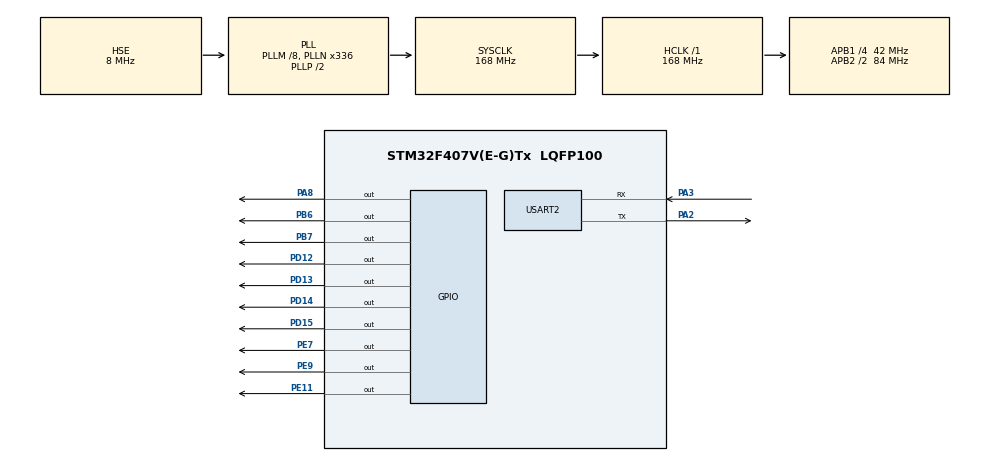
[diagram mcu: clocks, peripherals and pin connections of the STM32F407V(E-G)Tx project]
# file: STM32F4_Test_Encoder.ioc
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Dma.Request0=USART2_TX
Dma.Request1=USART2_RX
Dma.USART2_RX.1.Direction=DMA_PERIPH_TO_MEMORY
Dma.USART2_RX.1.FIFOMode=DMA_FIFOMODE_DISABLE
Dma.USART2_RX.1.Instance=DMA1_Stream5
Dma.USART2_RX.1.MemDataAlignment=DMA_MDATAALIGN_BYTE
Dma.USART2_RX.1.MemInc=DMA_MINC_ENABLE
Dma.USART2_RX.1.Mode=DMA_CIRCULAR
Dma.USART2_RX.1.PeriphDataAlignment=DMA_PDATAALIGN_BYTE
Dma.USART2_RX.1.PeriphInc=DMA_PINC_DISABLE
Dma.USART2_RX.1.Priority=DMA_PRIORITY_LOW
Dma.USART2_TX.0.Direction=DMA_MEMORY_TO_PERIPH
Dma.USART2_TX.0.FIFOMode=DMA_FIFOMODE_DISABLE
Dma.USART2_TX.0.Instance=DMA1_Stream6
Dma.USART2_TX.0.MemDataAlignment=DMA_MDATAALIGN_BYTE
Dma.USART2_TX.0.MemInc=DMA_MINC_ENABLE
Dma.USART2_TX.0.Mode=DMA_NORMAL
Dma.USART2_TX.0.PeriphDataAlignment=DMA_PDATAALIGN_BYTE
Dma.USART2_TX.0.PeriphInc=DMA_PINC_DISABLE
Dma.USART2_TX.0.Priority=DMA_PRIORITY_LOW
Mcu.Family=STM32F4
Mcu.Name=STM32F407V(E-G)Tx
Mcu.Package=LQFP100
NVIC.DMA1_Stream5_IRQn=true\:0\:0\:false\:false\:true\:false
NVIC.DMA1_Stream6_IRQn=true\:0\:0\:false\:false\:true\:false
NVIC.PriorityGroup=NVIC_PRIORITYGROUP_4
NVIC.TIM3_IRQn=true\:0\:0\:false\:false\:true\:true
NVIC.TIM4_IRQn=true\:0\:0\:false\:false\:true\:true
NVIC.USART2_IRQn=true\:0\:0\:false\:false\:true\:true
PA2.Mode=Asynchronous
PA2.Signal=USART2_TX
PA3.Mode=Asynchronous
PA3.Signal=USART2_RX
PA8.Signal=GPIO_Output
PB6.Signal=GPIO_Output
PB7.Signal=GPIO_Output
PD12.GPIO_Speed=GPIO_SPEED_FREQ_VERY_HIGH
PD12.Signal=GPIO_Output
PD13.GPIO_Speed=GPIO_SPEED_FREQ_VERY_HIGH
PD13.Signal=GPIO_Output
PD14.GPIO_Speed=GPIO_SPEED_FREQ_VERY_HIGH
PD14.Signal=GPIO_Output
PD15.GPIO_Speed=GPIO_SPEED_FREQ_VERY_HIGH
PD15.Signal=GPIO_Output
PE11.Signal=GPIO_Output
PE7.GPIO_Speed=GPIO_SPEED_FREQ_VERY_HIGH
PE7.PinState=GPIO_PIN_RESET
PE7.Signal=GPIO_Output
PE9.GPIO_Speed=GPIO_SPEED_FREQ_VERY_HIGH
PE9.PinState=GPIO_PIN_RESET
PE9.Signal=GPIO_Output
PH0-OSC_IN.Mode=HSE-External-Oscillator
PH0-OSC_IN.Signal=RCC_OSC_IN
PH1-OSC_OUT.Mode=HSE-External-Oscillator
PH1-OSC_OUT.Signal=RCC_OSC_OUT
ProjectManager.HeapSize=0x200
ProjectManager.StackSize=0x400
ProjectManager.TargetToolchain=MDK-ARM V5
RCC.48MHZClocksFreq_Value=84000000
RCC.AHBFreq_Value=168000000
RCC.APB1CLKDivider=RCC_HCLK_DIV4
RCC.APB1Freq_Value=42000000
RCC.APB1TimFreq_Value=84000000
RCC.APB2CLKDivider=RCC_HCLK_DIV2
RCC.APB2Freq_Value=84000000
RCC.APB2TimFreq_Value=168000000
RCC.CortexFreq_Value=168000000
RCC.HCLKFreq_Value=168000000
RCC.HSE_VALUE=8000000
RCC.HSI_VALUE=16000000
RCC.LSE_VALUE=32768
RCC.PLLM=8
RCC.PLLN=336
RCC.PLLSourceVirtual=RCC_PLLSOURCE_HSE
RCC.SYSCLKFreq_VALUE=168000000
RCC.SYSCLKSource=RCC_SYSCLKSOURCE_PLLCLK
RCC.VCOOutputFreq_Value=336000000
TIM3.Period=39
TIM3.Prescaler=42000
TIM4.Period=99
TIM4.Prescaler=42
USART2.VirtualMode=VM_ASYNC
VP_TIM3_VS_ClockSourceINT.Mode=Internal
VP_TIM4_VS_ClockSourceINT.Mode=Internal
board=STM32F4_Test_Encoder

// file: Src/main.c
/**
  ******************************************************************************
  * @file           : main.c
  * @brief          : Main program body
  ******************************************************************************
  ** This notice applies to any and all portions of this file
  * that are not between comment pairs USER CODE BEGIN and
  * USER CODE END. Other portions of this file, whether
  * inserted by the user or by software development tools
  * are owned by their respective copyright owners.
  *
  * COPYRIGHT(c) 2018 STMicroelectronics
  *
  * Redistribution and use in source and binary forms, with or without modification,
  * are permitted provided that the following conditions are met:
  *   1. Redistributions of source code must retain the above copyright notice,
  *      this list of conditions and the following disclaimer.
  *   2. Redistributions in binary form must reproduce the above copyright notice,
  *      this list of conditions and the following disclaimer in the documentation
  *      and/or other materials provided with the distribution.
  *   3. Neither the name of STMicroelectronics nor the names of its contributors
  *      may be used to endorse or promote products derived from this software
  *      without specific prior written permission.
  *
  * THIS SOFTWARE IS PROVIDED BY THE COPYRIGHT HOLDERS AND CONTRIBUTORS "AS IS"
  * AND ANY EXPRESS OR IMPLIED WARRANTIES, INCLUDING, BUT NOT LIMITED TO, THE
  * IMPLIED WARRANTIES OF MERCHANTABILITY AND FITNESS FOR A PARTICULAR PURPOSE ARE
  * DISCLAIMED. IN NO EVENT SHALL THE COPYRIGHT HOLDER OR CONTRIBUTORS BE LIABLE
  * FOR ANY DIRECT, INDIRECT, INCIDENTAL, SPECIAL, EXEMPLARY, OR CONSEQUENTIAL
  * DAMAGES (INCLUDING, BUT NOT LIMITED TO, PROCUREMENT OF SUBSTITUTE GOODS OR
  * SERVICES; LOSS OF USE, DATA, OR PROFITS; OR BUSINESS INTERRUPTION) HOWEVER
  * CAUSED AND ON ANY THEORY OF LIABILITY, WHETHER IN CONTRACT, STRICT LIABILITY,
  * OR TORT (INCLUDING NEGLIGENCE OR OTHERWISE) ARISING IN ANY WAY OUT OF THE USE
  * OF THIS SOFTWARE, EVEN IF ADVISED OF THE POSSIBILITY OF SUCH DAMAGE.
  *
  ******************************************************************************
  */
#include "main.h"
#include "stm32f4xx_hal.h"

/* USER CODE BEGIN Includes */
#include <stdlib.h>
#include <string.h>
#include "PID.h"
#include "encoder.h"
/* USER CODE END Includes */

TIM_HandleTypeDef htim3;
TIM_HandleTypeDef htim4;

UART_HandleTypeDef huart2;
DMA_HandleTypeDef hdma_usart2_tx;
DMA_HandleTypeDef hdma_usart2_rx;

/* USER CODE BEGIN PV */
/* Private variables ---------------------------------------------------------*/
#define MAX_BUF_DATA_RECV   20

uint8_t ui8_BufLog[50];
uint8_t u8_rec_data;
uint8_t UART_Buf[MAX_BUF_DATA_RECV];
uint16_t UART_ReadIdx = 0;
uint16_t UART_WriteIdx = 0;
uint16_t u16_avail_byte = 0;
int32_t i32_countZeroCmd = 0;

int16_t i16_CountPulseLeft, i16_CountPulseRight;

uint16_t count_reset = 0;
uint8_t count_send = 0;

PID_PARAMETERS PID_ParaMotor_Left = {.Kp = 0.020, .Kd = 0.0, .Ki = 0.005,
             .Ts = 0.020, .PID_Saturation = 450, .e_=0, .e__=0, .u_=0};
PID_PARAMETERS PID_ParaMotor_Right = {.Kp = 0.020, .Kd = 0.0, .Ki = 0.005,
             .Ts = 0.020, .PID_Saturation = 450, .e_=0, .e__=0, .u_=0};

LPF_PARAMETERS LPF_EncoderLeft = {.counter = 0, .result = 0, .alpha = 0.8};
LPF_PARAMETERS LPF_EncoderRight = {.counter = 0, .result = 0, .alpha = 0.8};

TARGET_VELOCITY_PARAMETERS Target_Velocity = {.angle_velocity = 0, .linear_velocity = 0,
                                              .i16_Pulse_Left = 0, .i16_Pulse_Right = 0,
                                              .radius = 0.035, .length = (0.3*1), .ratio = 1};
TARGET_VELOCITY_PARAMETERS Execute_Velocity = {.angle_velocity = 0, .linear_velocity = 0,
                                              .i16_Pulse_Left = 0, .i16_Pulse_Right = 0,
                                              .radius = 0.035, .length = (0.3*1), .ratio = 1};
/* USER CODE END PV */

void SystemClock_Config(void);
static void MX_GPIO_Init(void);
static void MX_DMA_Init(void);
static void MX_USART2_UART_Init(void);
static void MX_TIM4_Init(void);
static void MX_TIM3_Init(void);

/* USER CODE BEGIN PFP */
/* Private function prototypes -----------------------------------------------*/
int8_t UART_GetCmd(void);
/* USER CODE END PFP */

/* USER CODE BEGIN 0 */
void UART_Log(uint8_t* log)
{
  HAL_UART_Transmit_DMA(&huart2, log, strlen((const char *)log));
}

int16_t LPF_Encoder(LPF_PARAMETERS* LPF_params, int16_t counter)
{
  LPF_params->counter = counter;
  LPF_params->result = LPF_params->result + LPF_params->alpha * (LPF_params->counter - LPF_params->result);
  return LPF_params->result;
}

void HAL_TIM_PeriodElapsedCallback(TIM_HandleTypeDef *htim)
{
  if(htim->Instance == htim3.Instance)
  {
    if(UART_GetCmd() == 0)
    {
      i32_countZeroCmd++;
    }
    else
    {
      i32_countZeroCmd = 0;
      HAL_GPIO_WritePin(GPIOE, GPIO_PIN_11, GPIO_PIN_RESET);
      HAL_GPIO_WritePin(GPIOA, GPIO_PIN_8, GPIO_PIN_RESET);
    }

    if(i32_countZeroCmd > 50)
    {
      i32_countZeroCmd = 50;
      Target_Velocity.linear_velocity = 0;
      Target_Velocity.angle_velocity = 0;
//      Step_CalVelocity(&Target_Velocity);
      if((Execute_Velocity.linear_velocity == 0) && (Execute_Velocity.angle_velocity == 0))
      {
        HAL_GPIO_WritePin(GPIOE, GPIO_PIN_11, GPIO_PIN_SET);
        HAL_GPIO_WritePin(GPIOA, GPIO_PIN_8, GPIO_PIN_SET);
      }
    }

    if(Execute_Velocity.linear_velocity + INC_VEL < Target_Velocity.linear_velocity)
    {
      Execute_Velocity.linear_velocity += INC_VEL;
    }
    else if(Execute_Velocity.linear_velocity - INC_VEL > Target_Velocity.linear_velocity)
    {
      Execute_Velocity.linear_velocity -= INC_VEL;
    }
    else
    {
      Execute_Velocity.linear_velocity = Target_Velocity.linear_velocity;
    }

    if(Execute_Velocity.angle_velocity + INC_ANG < Target_Velocity.angle_velocity)
    {
      Execute_Velocity.angle_velocity += INC_ANG;
    }
    else if(Execute_Velocity.angle_velocity - INC_ANG > Target_Velocity.angle_velocity)
    {
      Execute_Velocity.angle_velocity -= INC_ANG;
    }
    else
    {
      Execute_Velocity.angle_velocity = Target_Velocity.angle_velocity;
    }

    Step_CalVelocity(&Execute_Velocity);

    if(count_send > 10)
    {
      count_send = 0;
      HAL_GPIO_TogglePin(GPIOD, GPIO_PIN_13);

  //    sprintf((char*) ui8_BufLog,"%f \t %f \t %f \t %f\n\r",Target_Velocity.linear_velocity*1000,Result_Velocity.linear_velocity*1000,
  //                                                          Target_Velocity.angle_velocity*1000, Result_Velocity.angle_velocity*1000);
//      sprintf((char*) ui8_BufLog,"%d \t %d \t %d \t %d\n\r",(int16_t)(Target_Velocity.linear_velocity*1000),
//                                                            (int16_t)(Result_Velocity.linear_velocity*1000),
//                                                            (int16_t)(Target_Velocity.angle_velocity*1000),
//                                                            (int16_t)(Result_Velocity.angle_velocity*1000));

//      sprintf((char*) ui8_BufLog,"%d \t %d\n\r", Target_Velocity.i16_Pulse_Right, i16_Counter_Right_LPF);
//      sprintf((char*) ui8_BufLog,"%d \t %d \t %d \t %d\n\r", i16_Error_Left, (int16_t)i16_PIDScale_Left, (int16_t)i16_Error_Right, (int16_t)i16_PIDScale_Right);
//      sprintf((char*) ui8_BufLog,"%d \t %d \t %d \t %d\n\r",i16_Counter_Left, i16_Counter_Left_LPF, i16_Counter_Right, i16_Counter_Right_LPF);
      UART_Log(ui8_BufLog);
    }
    else
    {
      count_send++;
    }
  }
  else if (htim->Instance == htim4.Instance)
  {
    if (count_reset >= 1000)
    {
      if(Execute_Velocity.i16_Pulse_Left > 0)
      {
        HAL_GPIO_WritePin(GPIOE, GPIO_PIN_7, STEP_FORWARD_LEFT);
        if(i16_CountPulseLeft > Execute_Velocity.i16_Pulse_Left)
        {
          i16_CountPulseLeft = 0;
          HAL_GPIO_TogglePin(GPIOB, GPIO_PIN_6);
        }
        else
        {
          i16_CountPulseLeft++;
        }
      }
      else if(Execute_Velocity.i16_Pulse_Left < 0)
      {
        HAL_GPIO_WritePin(GPIOE, GPIO_PIN_7, STEP_BACK_LEFT);
        if(i16_CountPulseLeft > -Execute_Velocity.i16_Pulse_Left)
        {
          i16_CountPulseLeft = 0;
          HAL_GPIO_TogglePin(GPIOB, GPIO_PIN_6);
        }
        else
        {
          i16_CountPulseLeft++;
        }
      }
      else
      {
        HAL_GPIO_WritePin(GPIOB, GPIO_PIN_6, 0);
      }

      if(Execute_Velocity.i16_Pulse_Right > 0)
      {
        HAL_GPIO_WritePin(GPIOE, GPIO_PIN_9, STEP_FORWARD_RIGHT);
        if(i16_CountPulseRight > Execute_Velocity.i16_Pulse_Right)
        {
          i16_CountPulseRight = 0;
          HAL_GPIO_TogglePin(GPIOB, GPIO_PIN_7);
        }
        else
        {
          i16_CountPulseRight++;
        }
      }
      else if(Execute_Velocity.i16_Pulse_Right < 0)
      {
        HAL_GPIO_WritePin(GPIOE, GPIO_PIN_9, STEP_BACK_RIGHT);
        if(i16_CountPulseRight > -Execute_Velocity.i16_Pulse_Right)
        {
          i16_CountPulseRight = 0;
          HAL_GPIO_TogglePin(GPIOB, GPIO_PIN_7);
        }
        else
        {
          i16_CountPulseRight++;
        }
      }
      else
      {
        HAL_GPIO_WritePin(GPIOB, GPIO_PIN_7, GPIO_PIN_RESET);
      }
    }
    else
    {
        count_reset++;
    }
  }
}

uint16_t UART_QueryData(void){
  return (u16_avail_byte);
}

void HAL_UART_RxCpltCallback(UART_HandleTypeDef *huart)
{
	if(huart->Instance==huart2.Instance)
	{
    if(((UART_WriteIdx == (MAX_BUF_DATA_RECV -1))&&(UART_ReadIdx != 0))||
       ((UART_WriteIdx != (MAX_BUF_DATA_RECV -1))&&((UART_WriteIdx+1) != UART_ReadIdx)))
    {
        UART_Buf[UART_WriteIdx++] = u8_rec_data;
        u16_avail_byte++;
        UART_WriteIdx %= MAX_BUF_DATA_RECV;
    }
  }
}

void UART_C1101_Read(uint8_t * buf, uint16_t len)
{
    uint16_t idx;
    if(UART_QueryData() >= len){
        for(idx = 0; idx < len; idx++){
            if (UART_ReadIdx != UART_WriteIdx)
            {
              *(buf + idx) = UART_Buf[UART_ReadIdx++];
              if (u16_avail_byte)
              {
                u16_avail_byte--;
              }
            }
            if(UART_ReadIdx >= MAX_BUF_DATA_RECV){
                UART_ReadIdx = 0;
            }
        }
    }
}

int8_t UART_GetCmd(void)
{
  static int8_t Buf_temp[20];
  static int8_t i8_InProcessing = 0;
  static int8_t i8_Idx = 0;
  static uint8_t u8_Temp;
  char* cToken;
  while(UART_QueryData() > 0)
  {
    UART_C1101_Read(&u8_Temp, 1);
    if(u8_Temp == ']')
    {
      i8_InProcessing = 0;
      //
      cToken = strtok((char*)Buf_temp, ",");
      if(cToken != NULL)
      {
          Target_Velocity.linear_velocity = atof(cToken);
          cToken = strtok(NULL,",");
          if(cToken != NULL)
          {
              Target_Velocity.angle_velocity = atof(cToken);
          }
      }
      if(Target_Velocity.linear_velocity > 0.5)
      {
        Target_Velocity.linear_velocity = 0.5;
      }
      if(Target_Velocity.angle_velocity > 3)
      {
        Target_Velocity.angle_velocity = 3;
      }
      else if(Target_Velocity.angle_velocity < -3)
      {
        Target_Velocity.angle_velocity = -3;
      }
//      Step_CalVelocity(&Target_Velocity);
      HAL_GPIO_TogglePin(GPIOD, GPIO_PIN_15);
      return 1;
    }
//    HAL_GPIO_TogglePin(GPIOD, GPIO_PIN_13);
    if(i8_InProcessing)
    {
      Buf_temp[i8_Idx++] = u8_Temp;
    }
    if(u8_Temp == '[')
    {
      i8_Idx = 0;
      i8_InProcessing = 1;
    }
  }
  return 0;
}
/* USER CODE END 0 */

int main(void)
{

  /* MCU Configuration----------------------------------------------------------*/

  /* Reset of all peripherals, Initializes the Flash interface and the Systick. */
  HAL_Init();

  /* USER CODE BEGIN Init */
  pid_reset(&PID_ParaMotor_Left);
  pid_reset(&PID_ParaMotor_Right);
  /* USER CODE END Init */

  /* Configure the system clock */
  SystemClock_Config();

  /* Initialize all configured peripherals */
  MX_GPIO_Init();
  MX_DMA_Init();
  MX_USART2_UART_Init();
  MX_TIM4_Init();
  MX_TIM3_Init();
  /* USER CODE BEGIN 2 */
  HAL_TIM_Base_Start_IT(&htim3);
  HAL_TIM_Base_Start_IT(&htim4);

  HAL_UART_Receive_DMA(&huart2, &u8_rec_data,1);
  /* USER CODE END 2 */

  /* Infinite loop */
  while (1)
  {

  }

}

void SystemClock_Config(void)
{

  RCC_OscInitTypeDef RCC_OscInitStruct;
  RCC_ClkInitTypeDef RCC_ClkInitStruct;

    /**Configure the main internal regulator output voltage
    */
  __HAL_RCC_PWR_CLK_ENABLE();

  __HAL_PWR_VOLTAGESCALING_CONFIG(PWR_REGULATOR_VOLTAGE_SCALE1);

    /**Initializes the CPU, AHB and APB busses clocks
    */
  RCC_OscInitStruct.OscillatorType = RCC_OSCILLATORTYPE_HSE;
  RCC_OscInitStruct.HSEState = RCC_HSE_ON;
  RCC_OscInitStruct.PLL.PLLState = RCC_PLL_ON;
  RCC_OscInitStruct.PLL.PLLSource = RCC_PLLSOURCE_HSE;
  RCC_OscInitStruct.PLL.PLLM = 8;
  RCC_OscInitStruct.PLL.PLLN = 336;
  RCC_OscInitStruct.PLL.PLLP = RCC_PLLP_DIV2;
  RCC_OscInitStruct.PLL.PLLQ = 4;
  if (HAL_RCC_OscConfig(&RCC_OscInitStruct) != HAL_OK)
  {
    _Error_Handler(__FILE__, __LINE__);
  }

    /**Initializes the CPU, AHB and APB busses clocks
    */
  RCC_ClkInitStruct.ClockType = RCC_CLOCKTYPE_HCLK|RCC_CLOCKTYPE_SYSCLK
                              |RCC_CLOCKTYPE_PCLK1|RCC_CLOCKTYPE_PCLK2;
  RCC_ClkInitStruct.SYSCLKSource = RCC_SYSCLKSOURCE_PLLCLK;
  RCC_ClkInitStruct.AHBCLKDivider = RCC_SYSCLK_DIV1;
  RCC_ClkInitStruct.APB1CLKDivider = RCC_HCLK_DIV4;
  RCC_ClkInitStruct.APB2CLKDivider = RCC_HCLK_DIV2;

  if (HAL_RCC_ClockConfig(&RCC_ClkInitStruct, FLASH_LATENCY_5) != HAL_OK)
  {
    _Error_Handler(__FILE__, __LINE__);
  }

    /**Configure the Systick interrupt time
    */
  HAL_SYSTICK_Config(HAL_RCC_GetHCLKFreq()/1000);

    /**Configure the Systick
    */
  HAL_SYSTICK_CLKSourceConfig(SYSTICK_CLKSOURCE_HCLK);

  /* SysTick_IRQn interrupt configuration */
  HAL_NVIC_SetPriority(SysTick_IRQn, 0, 0);
}

/* TIM3 init function */
static void MX_TIM3_Init(void)
{

  TIM_ClockConfigTypeDef sClockSourceConfig;
  TIM_MasterConfigTypeDef sMasterConfig;

  htim3.Instance = TIM3;
  htim3.Init.Prescaler = 42000;
  htim3.Init.CounterMode = TIM_COUNTERMODE_UP;
  htim3.Init.Period = 39;
  htim3.Init.ClockDivision = TIM_CLOCKDIVISION_DIV1;
  if (HAL_TIM_Base_Init(&htim3) != HAL_OK)
  {
    _Error_Handler(__FILE__, __LINE__);
  }

  sClockSourceConfig.ClockSource = TIM_CLOCKSOURCE_INTERNAL;
  if (HAL_TIM_ConfigClockSource(&htim3, &sClockSourceConfig) != HAL_OK)
  {
    _Error_Handler(__FILE__, __LINE__);
  }

  sMasterConfig.MasterOutputTrigger = TIM_TRGO_RESET;
  sMasterConfig.MasterSlaveMode = TIM_MASTERSLAVEMODE_DISABLE;
  if (HAL_TIMEx_MasterConfigSynchronization(&htim3, &sMasterConfig) != HAL_OK)
  {
    _Error_Handler(__FILE__, __LINE__);
  }

}

/* TIM4 init function */
static void MX_TIM4_Init(void)
{

  TIM_ClockConfigTypeDef sClockSourceConfig;
  TIM_MasterConfigTypeDef sMasterConfig;

  htim4.Instance = TIM4;
  htim4.Init.Prescaler = 42;
  htim4.Init.CounterMode = TIM_COUNTERMODE_UP;
  htim4.Init.Period = 99;
  htim4.Init.ClockDivision = TIM_CLOCKDIVISION_DIV1;
  if (HAL_TIM_Base_Init(&htim4) != HAL_OK)
  {
    _Error_Handler(__FILE__, __LINE__);
  }

  sClockSourceConfig.ClockSource = TIM_CLOCKSOURCE_INTERNAL;
  if (HAL_TIM_ConfigClockSource(&htim4, &sClockSourceConfig) != HAL_OK)
  {
    _Error_Handler(__FILE__, __LINE__);
  }

  sMasterConfig.MasterOutputTrigger = TIM_TRGO_RESET;
  sMasterConfig.MasterSlaveMode = TIM_MASTERSLAVEMODE_DISABLE;
  if (HAL_TIMEx_MasterConfigSynchronization(&htim4, &sMasterConfig) != HAL_OK)
  {
    _Error_Handler(__FILE__, __LINE__);
  }

}

/* USART2 init function */
static void MX_USART2_UART_Init(void)
{

  huart2.Instance = USART2;
  huart2.Init.BaudRate = 115200;
  huart2.Init.WordLength = UART_WORDLENGTH_8B;
  huart2.Init.StopBits = UART_STOPBITS_1;
  huart2.Init.Parity = UART_PARITY_NONE;
  huart2.Init.Mode = UART_MODE_TX_RX;
  huart2.Init.HwFlowCtl = UART_HWCONTROL_NONE;
  huart2.Init.OverSampling = UART_OVERSAMPLING_16;
  if (HAL_UART_Init(&huart2) != HAL_OK)
  {
    _Error_Handler(__FILE__, __LINE__);
  }

}

static void MX_DMA_Init(void)
{
  /* DMA controller clock enable */
  __HAL_RCC_DMA1_CLK_ENABLE();

  /* DMA interrupt init */
  /* DMA1_Stream5_IRQn interrupt configuration */
  HAL_NVIC_SetPriority(DMA1_Stream5_IRQn, 0, 0);
  HAL_NVIC_EnableIRQ(DMA1_Stream5_IRQn);
  /* DMA1_Stream6_IRQn interrupt configuration */
  HAL_NVIC_SetPriority(DMA1_Stream6_IRQn, 0, 0);
  HAL_NVIC_EnableIRQ(DMA1_Stream6_IRQn);

}

/** Configure pins as
        * Analog
        * Input
        * Output
        * EVENT_OUT
        * EXTI
*/
static void MX_GPIO_Init(void)
{

  GPIO_InitTypeDef GPIO_InitStruct;

  /* GPIO Ports Clock Enable */
  __HAL_RCC_GPIOH_CLK_ENABLE();
  __HAL_RCC_GPIOA_CLK_ENABLE();
  __HAL_RCC_GPIOE_CLK_ENABLE();
  __HAL_RCC_GPIOD_CLK_ENABLE();
  __HAL_RCC_GPIOB_CLK_ENABLE();

  /*Configure GPIO pin Output Level */
  HAL_GPIO_WritePin(GPIOE, GPIO_PIN_7|GPIO_PIN_9|GPIO_PIN_11, GPIO_PIN_RESET);

  /*Configure GPIO pin Output Level */
  HAL_GPIO_WritePin(GPIOD, GPIO_PIN_12|GPIO_PIN_13|GPIO_PIN_14|GPIO_PIN_15, GPIO_PIN_RESET);

  /*Configure GPIO pin Output Level */
  HAL_GPIO_WritePin(GPIOA, GPIO_PIN_8, GPIO_PIN_RESET);

  /*Configure GPIO pin Output Level */
  HAL_GPIO_WritePin(GPIOB, GPIO_PIN_6|GPIO_PIN_7, GPIO_PIN_RESET);

  /*Configure GPIO pins : PE7 PE9 */
  GPIO_InitStruct.Pin = GPIO_PIN_7|GPIO_PIN_9;
  GPIO_InitStruct.Mode = GPIO_MODE_OUTPUT_PP;
  GPIO_InitStruct.Pull = GPIO_NOPULL;
  GPIO_InitStruct.Speed = GPIO_SPEED_FREQ_VERY_HIGH;
  HAL_GPIO_Init(GPIOE, &GPIO_InitStruct);

  /*Configure GPIO pin : PE11 */
  GPIO_InitStruct.Pin = GPIO_PIN_11;
  GPIO_InitStruct.Mode = GPIO_MODE_OUTPUT_PP;
  GPIO_InitStruct.Pull = GPIO_NOPULL;
  GPIO_InitStruct.Speed = GPIO_SPEED_FREQ_LOW;
  HAL_GPIO_Init(GPIOE, &GPIO_InitStruct);

  /*Configure GPIO pins : PD12 PD13 PD14 PD15 */
  GPIO_InitStruct.Pin = GPIO_PIN_12|GPIO_PIN_13|GPIO_PIN_14|GPIO_PIN_15;
  GPIO_InitStruct.Mode = GPIO_MODE_OUTPUT_PP;
  GPIO_InitStruct.Pull = GPIO_NOPULL;
  GPIO_InitStruct.Speed = GPIO_SPEED_FREQ_VERY_HIGH;
  HAL_GPIO_Init(GPIOD, &GPIO_InitStruct);

  /*Configure GPIO pin : PA8 */
  GPIO_InitStruct.Pin = GPIO_PIN_8;
  GPIO_InitStruct.Mode = GPIO_MODE_OUTPUT_PP;
  GPIO_InitStruct.Pull = GPIO_NOPULL;
  GPIO_InitStruct.Speed = GPIO_SPEED_FREQ_LOW;
  HAL_GPIO_Init(GPIOA, &GPIO_InitStruct);

  /*Configure GPIO pins : PB6 PB7 */
  GPIO_InitStruct.Pin = GPIO_PIN_6|GPIO_PIN_7;
  GPIO_InitStruct.Mode = GPIO_MODE_OUTPUT_PP;
  GPIO_InitStruct.Pull = GPIO_NOPULL;
  GPIO_InitStruct.Speed = GPIO_SPEED_FREQ_LOW;
  HAL_GPIO_Init(GPIOB, &GPIO_InitStruct);

}

void _Error_Handler(char *file, int line)
{
  while(1)
  {
  }
}

/************************ (C) COPYRIGHT STMicroelectronics *****END OF FILE****/
